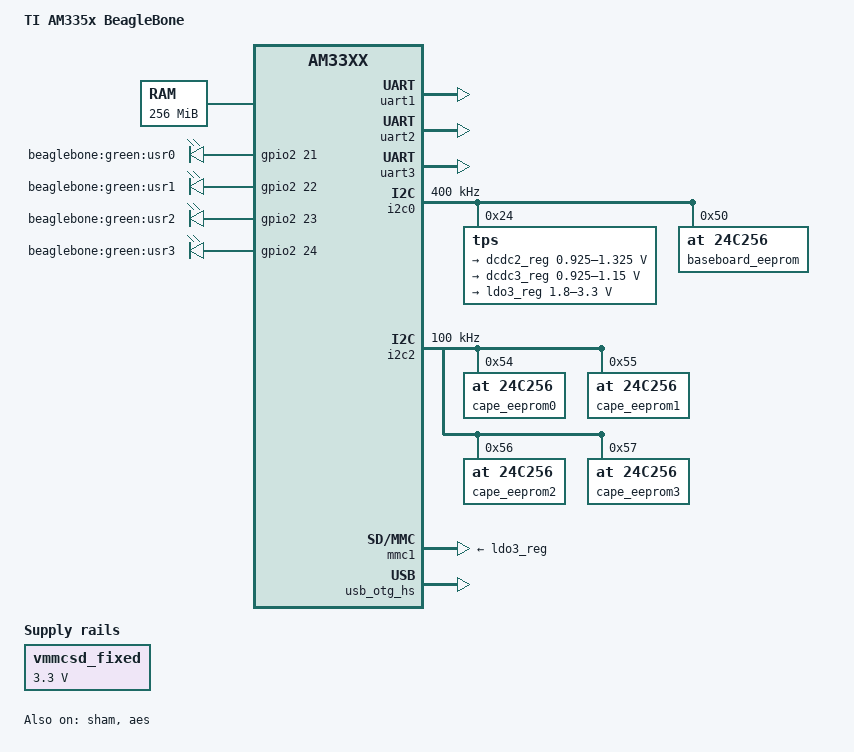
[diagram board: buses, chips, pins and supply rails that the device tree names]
/*
 * Copyright (C) 2012 Texas Instruments Incorporated - http://www.ti.com/
 *
 * This program is free software; you can redistribute it and/or modify
 * it under the terms of the GNU General Public License version 2 as
 * published by the Free Software Foundation.
 */

/include/ "am33xx.dtsi"

/ {
	model = "TI AM335x BeagleBone";
	compatible = "ti,am335x-bone", "ti,am33xx";

	cpus {
		cpu@0 {
			cpu0-supply = <&dcdc2_reg>;
		};
	};

	memory {
		device_type = "memory";
		reg = <0x80000000 0x10000000>; /* 256 MB */
	};

	am33xx_pinmux: pinmux@44e10800 {
		pinctrl-names = "default";
		pinctrl-0 = <&userled_pins>;

		userled_pins: pinmux_userled_pins {
			pinctrl-single,pins = <
				0x54 0x7	/* gpmc_a5.gpio1_21, OUTPUT | MODE7 */
				0x58 0x17	/* gpmc_a6.gpio1_22, OUTPUT_PULLUP | MODE7 */
				0x5c 0x7	/* gpmc_a7.gpio1_23, OUTPUT | MODE7 */
				0x60 0x17	/* gpmc_a8.gpio1_24, OUTPUT_PULLUP | MODE7 */
			>;
		};
		i2c0_pins: pinmux_i2c0_pins {
			pinctrl-single,pins = <
				0x188 0x70 	/* i2c0_sda, SLEWCTRL_SLOW | INPUT_PULLUP | MODE0 */
				0x18c 0x70	/* i2c0_scl, SLEWCTRL_SLOW | INPUT_PULLUP | MODE0 */

				0x150 0x21	/* p9-22		UART2_RXD 	 spi0_sclk */
				0x154 0x01	/* P9-21		UART2_TXD    spi0_d0 */
				
				0x040 0x27	/* p9-15 gpmc_a0			gpio_1[1] */
				0x04C 0x27  /* p9-16 gpmc_a3			gpio_1[19]*/

			>;
		};
		i2c2_pins: pinmux_i2c2_pins {
			pinctrl-single,pins = <
				0x178 0x73 	/* uart1_ctsn.i2c2_sda, SLEWCTRL_SLOW | INPUT_PULLUP | MODE3 */
				0x17c 0x73	/* uart1_rtsn.i2c2_scl, SLEWCTRL_SLOW | INPUT_PULLUP | MODE3 */
			>;
		};
		
		pruss_pins: pruss_pins {
			pinctrl-single,pins = <
				/* Page 754 of am335x TRM */
				/* PRU Pins */
				0x184 0x26	/* P9-24 uart1_txd, pr1_pru0_pru_r31_16  		*/
				0x1AC 0x26	/* P9-25 mcasp0_ahclkx, pr1_pru0_pru_r31_7  	*/
				0x1A4 0x26	/* P9-27 mcasp0_fsr, pr1_pru0_pru_r31_5 		*/
				0x19C 0x26	/* P9-28 mcasp0_ahclkr, pr1_pru0_pru_r31_3 		*/
				0x194 0x26	/* P9-29 mcasp0_fsx, pr1_pru0_pru_r31_1			*/
				0x198 0x26	/* P9-30 mcasp0_axr0, pr1_pru0_pru_r31_2		*/
				0x190 0x26	/* P9-31 mcasp0_aclkx, pr1_pru0_pru_r31_0		*/
					
				/*0x084 0x5	 P8-20 gpmc_csn2, pr1_pru1_pru_r30_13		*/
				/*0x080 0x5	 P8-21 gpmc_csn1, pr1_pru1_pru_r30_12		*/
				0x0E0 0x5	/* P8-27 lcd_vsync, pr1_pru1_pru_r30_8		*/
				0x0E8 0x5	/* P8-28 lcd_pclk, pr1_pru1_pru_r30_10		*/
				0x0E4 0x5	/* P8-29 lcd_hsync, pr1_pru1_pru_r30_9		*/
				0x0EC 0x5	/* P8-30 lcd_ac_bias_en, pr1_pru1_pru_r30_11*/
				0x0B8 0x5	/* P8-39 lcd_data6, pr1_pru1_pru_r30_6		*/
				0x0BC 0x5	/* P8-40 lcd_data7, pr1_pru1_pru_r30_7		*/
				0x0B0 0x5	/* P8-41 lcd_data4, pr1_pru1_pru_r30_4		*/
				0x0B4 0x5	/* P8-42 lcd_data5, pr1_pru1_pru_r30_5		*/
				0x0A8 0x5	/* P8-43 lcd_data2, pr1_pru1_pru_r30_2		*/
				0x0AC 0x5	/* P8-44 lcd_data3, pr1_pru1_pru_r30_3		*/
				0x0A0 0x5	/* P8-45 lcd_data0, pr1_pru1_pru_r30_0		*/
				0x0A4 0x5	/* P8-46 lcd_data1, pr1_pru1_pru_r30_1		*/	

			>;
		};			

	};

	ocp: ocp {

		uart1: serial@44e09000 {
			status = "okay";
		};

 		uart2: serial@48022000 {
                        status = "okay";
                };

 		uart3: serial@48024000 {
                        status = "okay";
                };

		gpio-leds {
			compatible = "gpio-leds";
			pinctrl-names = "default";
			pinctrl-0 = <&userled_pins>;

			led0 {
				label = "beaglebone:green:usr0";
				gpios = <&gpio2 21 0>;
				linux,default-trigger = "heartbeat";
				default-state = "off";
			};

			led1 {
				label = "beaglebone:green:usr1";
				gpios = <&gpio2 22 0>;
				linux,default-trigger = "mmc0";
				default-state = "off";
			};

			led2 {
				label = "beaglebone:green:usr2";
				gpios = <&gpio2 23 0>;
				linux,default-trigger = "cpu0";
				default-state = "off";
			};

			led3 {
				label = "beaglebone:green:usr3";
				gpios = <&gpio2 24 0>;
				default-state = "off";
				linux,default-trigger = "mmc1";
			};
		};

		rtc@44e3e000 {
			ti,system-power-controller;
		};
	};

	bone_capemgr {
		compatible = "ti,bone-capemgr";
		status = "okay";

		eeprom = <&baseboard_eeprom>;

		baseboardmaps {
			baseboard_beaglebone: board@0 {
				board-name = "A335BONE";
				compatible-name = "ti,beaglebone";
			};

			baseboard_beaglebone_black: board@1 {
				board-name = "A335BNLT";
				compatible-name = "ti,beaglebone-black";
			};
		};

		slots {
			slot@0 {
				eeprom = <&cape_eeprom0>;
			};

			slot@1 {
				eeprom = <&cape_eeprom1>;
			};

			slot@2 {
				eeprom = <&cape_eeprom2>;
			};

			slot@3 {
				eeprom = <&cape_eeprom3>;
			};

			/* geiger cape version A0 without an EEPROM */
			slot@5 {
				ti,cape-override;
				compatible = "kernel-command-line", "runtime";
				board-name = "Bone-Geiger";
				version = "00A0";
				manufacturer = "Geiger Inc.";
				part-number = "BB-BONE-GEIGER";
			};

			/* Nixie cape version A0 without an EEPROM */
			slot@7 {
				ti,cape-override;
				compatible = "kernel-command-line", "runtime";
				board-name = "Bone-Nixie";
				version = "00A0";
				manufacturer = "Ranostay Industries";
				part-number = "BB-BONE-NIXIE";
			};

			/* adafruit 1.8" TFT prototype cape */
			slot@8 {
				ti,cape-override;
				compatible = "kernel-command-line", "runtime";
				board-name = "Bone-TFT";
				version = "00A0";
				manufacturer = "Adafruit";
				part-number = "BB-BONE-TFT-01";
			};

			/* adafruit RTC DS1307 prototype cape */
			slot@9 {
				ti,cape-override;
				compatible = "kernel-command-line", "runtime";
				board-name = "Bone-RTC";
				version = "00A0";
				manufacturer = "Adafruit";
				part-number = "BB-BONE-RTC-01";
			};

			slot@10 {
				ti,cape-override;
				compatible = "kernel-command-line", "runtime";
				board-name = "Bone-Hexy";
				version = "00A0";
				manufacturer = "Koen Kooi";
				part-number = "BB-BONE-HEXY-01";
			};
			/* MRF24J40 Cape Override */
			slot@11 {
				ti,cape-override;
				compatible = "kernel-command-line", "runtime";
				board-name = "Bone-MRF24J40";
				version = "00A0";
				manufacturer = "Signal 11 Software";
				part-number = "BB-BONE-MRF24J40";
			};

			/* Beaglebone black has it soldered on */
			 slot@100 {
			 	ti,cape-override;
				priority = <1>;
			 	compatible = "ti,beaglebone-black";
			 	board-name = "Bone-LT-eMMC-2G";
			 	version = "00A0";
			 	manufacturer = "Texas Instruments";
			 	part-number = "BB-BONE-EMMC-2G";
			 };

			/* Beaglebone black has it soldered on */
			slot@101 {
				ti,cape-override;
				priority = <1>;
				compatible = "ti,beaglebone-black";
				board-name = "Bone-Black-HDMI";
				version = "00A0";
				manufacturer = "Texas Instruments";
				part-number = "BB-BONELT-HDMI";
			};

		};

		/* mapping between board names and dtb objects */
		capemaps {
			/* DVI cape */
			cape@0 {
				/* board-name = "BeagleBone DVI-D CAPE"; */
				part-number = "BB-BONE-DVID-01";
				version@00A0 {
					version = "00A0";
					dtbo = "cape-bone-dvi-00A0.dtbo";
				};
				version@00A1 {
					version = "00A1", "01";
					dtbo = "cape-bone-dvi-00A1.dtbo";
				};
				version@00A2 {
					version = "00A2", "A2";
					dtbo = "cape-bone-dvi-00A2.dtbo";
				};
				version@00A3 {
					version = "00A3";
					dtbo = "cape-bone-dvi-00A2.dtbo";
				};
			};

			/* beaglebone black emmc on board */
			cape@1 {
				/* board-name = "BeagleBone 2G eMMC1 CAPE"; */
				part-number = "BB-BONE-EMMC-2G";
				version@00A0 {
					version = "00A0";
					dtbo = "cape-bone-2g-emmc1.dtbo";
				};
			};

			/* geiger cape */
			cape@2 {
				part-number = "BB-BONE-GEIGER";
				version@00A0 {
					version = "00A0";
					dtbo = "cape-bone-geiger-00A0.dtbo";
				};
			};

			/* LCD3 cape */
			cape@3 {
				part-number = "BB-BONE-LCD3-01";
				version@00A0 {
					version = "00A0";
					dtbo = "cape-bone-lcd3-00A0.dtbo";
				};
				version@00A2 {
					version = "00A2";
					dtbo = "cape-bone-lcd3-00A2.dtbo";
				};
			};

			/* Weather cape */
			cape@4 {
				part-number = "BB-BONE-WTHR-01";
				version@00A0 {
					version = "00A0";
					dtbo = "cape-bone-weather-00A0.dtbo";
				};
			};

			/* beaglebone black hdmi on board */
			cape@5 {
				part-number = "BB-BONELT-HDMI";
				version@00A0 {
					version = "00A0";
					dtbo = "cape-boneblack-hdmi-00A0.dtbo";
				};
			};

			/* nixie cape */
			cape@6 {
				part-number = "BB-BONE-NIXIE";
				version@00A0 {
					version = "00A0";
					dtbo = "cape-bone-nixie-00A0.dtbo";
				};
			};
			cape@7 {
				part-number = "BB-BONE-TFT-01";
				version@00A0 {
					version = "00A0";
					dtbo = "cape-bone-adafruit-lcd-00A0.dtbo";
				};
			};

			cape@8 {
				part-number = "BB-BONE-RTC-01";
				version@00A0 {
					version = "00A0";
					dtbo = "cape-bone-adafruit-rtc-00A0.dtbo";
				};
			};

			cape@9 {
				part-number = "BB-BONE-HEXY-01";
				version@00A0 {
					version = "00A0";
					dtbo = "cape-bone-hexy-00A0.dtbo";
				};
			};
			/* mrf24j40 cape */
			cape@10 {
				part-number = "BB-BONE-MRF24J40";
				version@00A0 {
					version = "00A0";
					dtbo = "cape-bone-mrf24j40-00A0.dtbo";
				};
			};
			/* expansion test */
			cape@11 {
				part-number = "BB-BONE-EXPTEST";
				version@00A0 {
					version = "00A0";
					dtbo = "cape-bone-exptest-00A0.dtbo";
				};
			};
		};
	};

	vmmcsd_fixed: fixedregulator@0 {
		compatible = "regulator-fixed";
		regulator-name = "vmmcsd_fixed";
		regulator-min-microvolt = <3300000>;
		regulator-max-microvolt = <3300000>;
	};

};

&i2c0 {
	status = "okay";
	clock-frequency = <400000>;
	pinctrl-names = "default";
	pinctrl-0 = <&i2c0_pins>;

	tps: tps@24 {
		reg = <0x24>;
	};

	baseboard_eeprom: baseboard_eeprom@50 {
		compatible = "at,24c256";
		reg = <0x50>;
	};
};

&i2c2 {
	status = "okay";
	pinctrl-names = "default";
	pinctrl-0 = <&i2c2_pins>;

	clock-frequency = <100000>;

	cape_eeprom0: cape_eeprom0@54 {
		compatible = "at,24c256";
		reg = <0x54>;
	};

	cape_eeprom1: cape_eeprom1@55 {
		compatible = "at,24c256";
		reg = <0x55>;
	};

	cape_eeprom2: cape_eeprom2@56 {
		compatible = "at,24c256";
		reg = <0x56>;
	};

	cape_eeprom3: cape_eeprom3@57 {
		compatible = "at,24c256";
		reg = <0x57>;
	};
};

/include/ "tps65217.dtsi"

&tps {
	ti,pmic-shutdown-controller;

	regulators {
		dcdc1_reg: regulator@0 {
			regulator-always-on;
		};

		dcdc2_reg: regulator@1 {
			/* VDD_MPU voltage limits 0.95V - 1.26V with +/-4% tolerance */
			regulator-name = "vdd_mpu";
			regulator-min-microvolt = <925000>;
			regulator-max-microvolt = <1325000>;
			regulator-boot-on;
			regulator-always-on;
		};

		dcdc3_reg: regulator@2 {
			/* VDD_CORE voltage limits 0.95V - 1.1V with +/-4% tolerance */
			regulator-name = "vdd_core";
			regulator-min-microvolt = <925000>;
			regulator-max-microvolt = <1150000>;
			regulator-boot-on;
			regulator-always-on;
		};

		ldo1_reg: regulator@3 {
			regulator-always-on;
		};

		ldo2_reg: regulator@4 {
			regulator-always-on;
		};

		ldo3_reg: regulator@5 {
			regulator-min-microvolt = <1800000>;
			regulator-max-microvolt = <3300000>;
			regulator-always-on;
		};

		ldo4_reg: regulator@6 {
			regulator-always-on;
		};
	};
};

&cpsw_emac0 {
	phy_id = <&davinci_mdio>, <0>;
};

&cpsw_emac1 {
	phy_id = <&davinci_mdio>, <1>;
};

&mmc1 {
	status = "okay";
	vmmc-supply = <&ldo3_reg>;
	ti,vcc-aux-disable-is-sleep;
};

&edma {
	ti,edma-xbar-event-map = <32 12>,	/* gpevt2 -> 12 */
				 <30 20>;	/* xdma_event_intr2 -> 20 */
};

&sham {
	status = "okay";
};

&aes {
	status = "okay";
};

&usb_otg_hs {
	interface_type = <1>;
	power = <250>;
	status = "okay";
};
